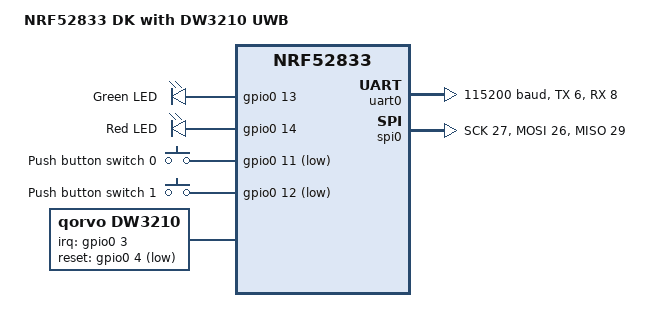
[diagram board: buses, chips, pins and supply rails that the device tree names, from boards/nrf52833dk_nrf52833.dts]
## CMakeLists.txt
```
cmake_minimum_required(VERSION 3.20.0)
find_package(Zephyr REQUIRED HINTS $ENV{ZEPHYR_BASE})
project(UWB_TAG_FIRMWARE)

target_include_directories(app PRIVATE src/decadriver)
target_sources(app PRIVATE 
    src/main.c
    src/uwb_driver_qorvo.c
    src/decadriver/deca_device.c
    # src/decadriver/deca_params_init.c
    src/decadriver/platform_port.c
)
```

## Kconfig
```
mainmenu "UWB TAG FIRMWARE Configuration"

config BOARD
	string "Board"
	default "nrf52833dk_nrf52833"

config APP_VERSION
	string "Application version"
	default "1.0.0"

source "Kconfig.zephyr"
```

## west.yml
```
# West manifest file for UWB Tag Firmware
manifest:
  self:
    path: uwb-tag-firmware

  remotes:
    - name: nrfconnect
      url-base: https://github.com/nrfconnect

  projects:
    - name: sdk-nrf
      remote: nrfconnect
      revision: v2.6.0
      import: true
```

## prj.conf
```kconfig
# UWB TAG FIRMWARE - Production Configuration
# Target: nRF52833 Dongle + DW3000 UWB Transceiver

# Core System
CONFIG_MAIN_STACK_SIZE=8192
CONFIG_SYSTEM_WORKQUEUE_STACK_SIZE=4096
CONFIG_ISR_STACK_SIZE=4096
CONFIG_HEAP_MEM_POOL_SIZE=8192

# Hardware Drivers
CONFIG_SPI=y
CONFIG_GPIO=y
CONFIG_SERIAL=y
CONFIG_CONSOLE=y
CONFIG_CONSOLE_SUBSYS=y
CONFIG_PINCTRL=y

# Logging (RTT for Debug)
CONFIG_LOG=y
CONFIG_LOG_DEFAULT_LEVEL=2
CONFIG_LOG_MODE_IMMEDIATE=n
CONFIG_LOG_MODE_DEFERRED=y
CONFIG_USE_SEGGER_RTT=y
CONFIG_RTT_CONSOLE=y
CONFIG_UART_CONSOLE=n
CONFIG_ASSERT=y

# Disable unnecessary features
CONFIG_LOG_MODE_OVERFLOW=n
CONFIG_MPU_LOG_LEVEL_OFF=y

# TAG must not enter sleep/deep-sleep; keep CPU/peripherals running predictably even on battery.
CONFIG_PM=n
CONFIG_PM_DEVICE=n
CONFIG_TICKLESS_KERNEL=n
```

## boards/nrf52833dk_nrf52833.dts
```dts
/*
 * Copyright (c) 2024 UWB TAG FIRMWARE Project
 * Device Tree Source for NRF52833 DK with DW3210 UWB Transceiver
 */

/dts-v1/;
#include <nordic/nrf52833.dtsi>

/ {
	model = "NRF52833 DK with DW3210 UWB";
	compatible = "nordic,nrf52833-dk";

	chosen {
		zephyr,console = &uart0;
		zephyr,shell-uart = &uart0;
		zephyr,sram = &sram0;
		zephyr,flash = &flash0;
		zephyr,code-partition = &code_partition;
	};

	leds {
		compatible = "gpio-leds";
		led0: led_0 {
			gpios = <&gpio0 13 GPIO_ACTIVE_HIGH>;
			label = "Green LED";
		};
		led1: led_1 {
			gpios = <&gpio0 14 GPIO_ACTIVE_HIGH>;
			label = "Red LED";
		};
	};

	buttons {
		compatible = "gpio-keys";
		button0: button_0 {
			gpios = <&gpio0 11 (GPIO_PULL_UP | GPIO_ACTIVE_LOW)>;
			label = "Push button switch 0";
		};
		button1: button_1 {
			gpios = <&gpio0 12 (GPIO_PULL_UP | GPIO_ACTIVE_LOW)>;
			label = "Push button switch 1";
		};
	};

	/* DW3210 UWB Transceiver Configuration */
	dw3210 {
		compatible = "qorvo,dw3210";
		label = "dw3210";
		
		/* Pin Configuration */
		irq-gpios = <&gpio0 3 GPIO_ACTIVE_HIGH>;
		reset-gpios = <&gpio0 4 GPIO_ACTIVE_LOW>;
		cs-gpios = <&gpio0 31 GPIO_ACTIVE_LOW>;
		
		/* SPI Interface */
		spi-parent = &spi0;
		spi-frequency = <8000000>;
	};
};

&uart0 {
	compatible = "nordic,nrf-uart";
	current-speed = <115200>;
	status = "okay";
	tx-pin = <6>;
	rx-pin = <8>;
};

&spi0 {
	compatible = "nordic,nrf-spi";
	status = "okay";
	sck-pin = <27>;
	mosi-pin = <26>;
	miso-pin = <29>;
};

&gpio0 {
	status = "okay";
};

&flash0 {
	partitions {
		compatible = "fixed-partitions";
		#address-cells = <1>;
		#size-cells = <1>;

		boot_partition: partition@0 {
			label = "mcuboot";
			reg = <0x00000000 0x0000F000>;
		};

		code_partition: partition@f000 {
			label = "code";
			reg = <0x0000F000 0x000F1000>;
		};

		storage_partition: partition@100000 {
			label = "storage";
			reg = <0x00100000 0x00000000>;
		};
	};
};
```

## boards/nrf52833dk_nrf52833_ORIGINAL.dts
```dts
/*
 * Copyright (c) 2024 UWB TAG FIRMWARE Project
 * Device Tree Source for NRF52833 DK with DW3210 UWB Transceiver
 */

/dts-v1/;
#include <nordic/nrf52833.dtsi>

/ {
	model = "NRF52833 DK with DW3210 UWB";
	compatible = "nordic,nrf52833-dk";

	chosen {
		zephyr,console = &uart0;
		zephyr,shell-uart = &uart0;
		zephyr,sram = &sram0;
		zephyr,flash = &flash0;
		zephyr,code-partition = &code_partition;
	};

	leds {
		compatible = "gpio-leds";
		led0: led_0 {
			gpios = <&gpio0 10 GPIO_ACTIVE_HIGH>;
			label = "Green LED";
		};
		led1: led_1 {
			gpios = <&gpio0 5 GPIO_ACTIVE_HIGH>;
			label = "Red LED";
		};
	};

	buttons {
		compatible = "gpio-keys";
		button0: button_0 {
			gpios = <&gpio0 4 (GPIO_PULL_UP | GPIO_ACTIVE_LOW)>;
			label = "Push button switch 0";
		};
		button1: button_1 {
			gpios = <&gpio1 9 (GPIO_PULL_UP | GPIO_ACTIVE_LOW)>;
			label = "Push button switch 1";
		};
	};

	/* DW3210 UWB Transceiver Configuration */
	dw3210 {
		compatible = "qorvo,dw3210";
		label = "dw3210";
		
		/* Pin Configuration */
		irq-gpios = <&gpio0 3 GPIO_ACTIVE_HIGH>;
		reset-gpios = <&gpio0 29 GPIO_ACTIVE_LOW>;
		cs-gpios = <&gpio0 2 GPIO_ACTIVE_LOW>;
		
		/* SPI Interface */
		spi-parent = &spi0;
		spi-frequency = <8000000>;
	};
};

&uart0 {
	compatible = "nordic,nrf-uart";
	current-speed = <115200>;
	status = "okay";
	tx-pin = <6>;
	rx-pin = <8>;
};

&spi0 {
	compatible = "nordic,nrf-spi";
	status = "okay";
	sck-pin = <31>;
	mosi-pin = <30>;
	miso-pin = <28>;
};

&gpio0 {
	status = "okay";
};

&flash0 {
	partitions {
		compatible = "fixed-partitions";
		#address-cells = <1>;
		#size-cells = <1>;

		boot_partition: partition@0 {
			label = "mcuboot";
			reg = <0x00000000 0x0000F000>;
		};

		code_partition: partition@f000 {
			label = "code";
			reg = <0x0000F000 0x000F1000>;
		};

		storage_partition: partition@100000 {
			label = "storage";
			reg = <0x00100000 0x00000000>;
		};
	};
};
```

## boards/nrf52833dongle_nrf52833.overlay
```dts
/* 
 * Takingo QuanV.01 - UWB Tag Firmware
 * Board: nRF52833 Dongle
 * Hardware Pinout (Verified by manufacturer):
 *   SPI3: SCK=P0.31, MOSI=P0.30, MISO=P0.28
 *   DW3000: CS=P0.02, RST=P0.29, IRQ=P0.24 (polling mode)
 *   LED: P0.06 (Active Low)
 * 
 * NOTE: UART disabled to free pins for SPI
 */

/* Disable UART to free P0.30 and P0.31 for SPI */
&uart0 {
    status = "disabled";
};

&pinctrl {
    spi3_default: spi3_default {
        group1 {
            psels = <NRF_PSEL(SPIM_SCK, 0, 31)>,
                    <NRF_PSEL(SPIM_MOSI, 0, 30)>,
                    <NRF_PSEL(SPIM_MISO, 0, 28)>;
        };
    };

    spi3_sleep: spi3_sleep {
        group1 {
            psels = <NRF_PSEL(SPIM_SCK, 0, 31)>,
                    <NRF_PSEL(SPIM_MOSI, 0, 30)>,
                    <NRF_PSEL(SPIM_MISO, 0, 28)>;
            low-power-enable;
        };
    };
};

&spi3 {
    compatible = "nordic,nrf-spim";
    status = "okay";
    pinctrl-0 = <&spi3_default>;
    pinctrl-1 = <&spi3_sleep>;
    pinctrl-names = "default", "sleep";
    
    dw3000: dw3000@0 {
        compatible = "decawave,dw3000";
        reg = <0>;
        spi-max-frequency = <2000000>;
        cs-gpios = <&gpio0 2 GPIO_ACTIVE_LOW>;
        reset-gpios = <&gpio0 29 GPIO_ACTIVE_LOW>;
        irq-gpios = <&gpio0 24 GPIO_ACTIVE_HIGH>;
    };
};

/ {
    aliases {
        led0 = &led0_custom;
    };

    leds {
        compatible = "gpio-leds";
        led0_custom: led_0_custom {
            gpios = <&gpio0 5 GPIO_ACTIVE_HIGH>;
            label = "Front Green LED";
        };
    };
};
```

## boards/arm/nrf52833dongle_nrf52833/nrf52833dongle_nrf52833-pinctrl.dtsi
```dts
/*
 * Copyright (c) 2024 K4W UWB Tag
 * SPDX-License-Identifier: Apache-2.0
 */

&pinctrl {
	uart0_default: uart0_default {
		group1 {
			psels = <NRF_PSEL(UART_TX, 0, 13)>,
				<NRF_PSEL(UART_RX, 0, 15)>;
		};
	};

	uart0_sleep: uart0_sleep {
		group1 {
			psels = <NRF_PSEL(UART_TX, 0, 13)>,
				<NRF_PSEL(UART_RX, 0, 15)>;
			low-power-enable;
		};
	};

	spi3_default: spi3_default {
		group1 {
			psels = <NRF_PSEL(SPIM_SCK, 0, 31)>,
				<NRF_PSEL(SPIM_MOSI, 0, 30)>,
				<NRF_PSEL(SPIM_MISO, 0, 28)>;
		};
	};

	spi3_sleep: spi3_sleep {
		group1 {
			psels = <NRF_PSEL(SPIM_SCK, 0, 31)>,
				<NRF_PSEL(SPIM_MOSI, 0, 30)>,
				<NRF_PSEL(SPIM_MISO, 0, 28)>;
			low-power-enable;
		};
	};
};
```

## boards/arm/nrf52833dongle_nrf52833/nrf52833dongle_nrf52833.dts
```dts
/*
 * Copyright (c) 2024 K4W UWB Tag
 * SPDX-License-Identifier: Apache-2.0
 */

/dts-v1/;
#include <nordic/nrf52833_qdaa.dtsi>
#include "nrf52833dongle_nrf52833-pinctrl.dtsi"

/ {
	model = "nRF52833 Dongle (K4W UWB Tag)";
	compatible = "nordic,nrf52833-dongle";

	chosen {
		zephyr,console = &uart0;
		zephyr,shell-uart = &uart0;
		zephyr,uart-mcumgr = &uart0;
		zephyr,bt-mon-uart = &uart0;
		zephyr,bt-c2h-uart = &uart0;
		zephyr,sram = &sram0;
		zephyr,flash = &flash0;
		zephyr,code-partition = &slot0_partition;
	};

	leds {
		compatible = "gpio-leds";
		led0: led_0 {
			gpios = <&gpio0 5 GPIO_ACTIVE_HIGH>;
			label = "Front LED (Green)";
		};
		led1: led_1 {
			gpios = <&gpio0 20 GPIO_ACTIVE_LOW>;
			label = "Back LED (Red)";
		};
	};

	aliases {
		led0 = &led0;
		led1 = &led1;
		watchdog0 = &wdt0;
	};
};

&flash0 {
	partitions {
		compatible = "fixed-partitions";
		#address-cells = <1>;
		#size-cells = <1>;

		boot_partition: partition@0 {
			label = "mcuboot";
			reg = <0x00000000 0xc000>;
		};
		slot0_partition: partition@c000 {
			label = "image-0";
			reg = <0x0000c000 0x37000>;
		};
		slot1_partition: partition@43000 {
			label = "image-1";
			reg = <0x00043000 0x37000>;
		};
		storage_partition: partition@7a000 {
			label = "storage";
			reg = <0x0007a000 0x00006000>;
		};
	};
};

&adc {
	status = "okay";
};

&uicr {
	gpio-as-nreset;
};

&gpiote {
	status = "okay";
};

&gpio0 {
	status = "okay";
};

&uart0 {
	compatible = "nordic,nrf-uarte";
	status = "okay";
	current-speed = <115200>;
	pinctrl-0 = <&uart0_default>;
	pinctrl-1 = <&uart0_sleep>;
	pinctrl-names = "default", "sleep";
};

&i2c0 {
	compatible = "nordic,nrf-twi";
	status = "disabled";
};

&spi0 {
	compatible = "nordic,nrf-spi";
	status = "disabled";
};

&spi1 {
	compatible = "nordic,nrf-spi";
	status = "disabled";
};

&spi2 {
	compatible = "nordic,nrf-spi";
	status = "disabled";
};

&spi3 {
	compatible = "nordic,nrf-spim";
	status = "okay";
	cs-gpios = <&gpio0 29 GPIO_ACTIVE_LOW>;
	pinctrl-0 = <&spi3_default>;
	pinctrl-1 = <&spi3_sleep>;
	pinctrl-names = "default", "sleep";
};
```

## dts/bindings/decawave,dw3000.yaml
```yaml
description: Decawave DW3000 UWB Transceiver

compatible: "decawave,dw3000"

include: spi-device.yaml

properties:
  reset-gpios:
    type: phandle-array
    required: true
  irq-gpios:
    type: phandle-array
    required: false
  cs-gpios:
    type: phandle-array
    required: true
```

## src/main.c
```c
#include <zephyr/kernel.h>
#include <zephyr/logging/log.h>
#include <zephyr/drivers/gpio.h>
#include <zephyr/drivers/spi.h>
#include <hal/nrf_gpio.h>

LOG_MODULE_REGISTER(uwb_tag_firmware, CONFIG_LOG_DEFAULT_LEVEL);

#ifndef UWB_CAL_ENABLE
#define UWB_CAL_ENABLE 0
#endif

#ifndef UWB_CAL_REF_MM
#define UWB_CAL_REF_MM 5000
#endif

#ifndef UWB_CAL_SAMPLES
#define UWB_CAL_SAMPLES 100
#endif

/* LED0 for nRF52833 Dongle */
// User requested "Front LED". On nRF52833 Dongle:
// LED0 (Green) = P0.06
// LED1 (RGB) = Red P0.08, Green P1.09, Blue P0.12
// Trying LED1 Green (P1.09) as the "Front" indicator if LED0 was wrong.
// Or if LED0 was P0.06 and that was "back", maybe P0.13 is front?
// Let's try standard LED0 first, but ensure it's P0.06.
#define LED0_NODE DT_ALIAS(led0)
static const struct gpio_dt_spec led = GPIO_DT_SPEC_GET(LED0_NODE, gpios);

/* SPI Device for Raw Test */
#define DW3000_NODE DT_NODELABEL(dw3000)
static const struct device *spi_dev = DEVICE_DT_GET(DT_BUS(DW3000_NODE));
static const struct gpio_dt_spec cs_gpio = GPIO_DT_SPEC_GET(DW3000_NODE, cs_gpios);

/* Forward declaration of UWB driver functions */
extern int uwb_driver_init(void);
extern int uwb_send_blink(void);
extern int uwb_twr_cycle(void);
extern int uwb_rx_test_mode(void);
extern int uwb_beacon_tx_mode(void); // TX beacon test
extern int uwb_calibrate_antenna_delay(uint32_t ref_mm, uint16_t samples);
extern void reset_DWIC(void);

/* Global LED control for UWB driver */
static bool g_led_available = false;
static const struct gpio_dt_spec *g_led_ptr = NULL;

void uwb_led_on(void) {
    if (g_led_available && g_led_ptr) {
        gpio_pin_set_dt(g_led_ptr, 1);
    }
}

void uwb_led_off(void) {
    if (g_led_available && g_led_ptr) {
        gpio_pin_set_dt(g_led_ptr, 0);
    }
}

void uwb_led_pulse(void) {
    // LED DISABLED to prevent battery voltage drop (brownout)
    return;
    
    /*
    if (g_led_available && g_led_ptr) {
        gpio_pin_set_dt(g_led_ptr, 1);
        // Short blink (5ms) to minimize blocking but remain visible
        k_busy_wait(5000);
        gpio_pin_set_dt(g_led_ptr, 0);
    }
    */
}

void gpio_scan_disco(void) {
    printk("\n--- STARTING GPIO DISCO SCAN ---\n");
    printk("Watch the board! Each pin will blink for 200ms.\n");
    
    // Scan Port 0
    for (int i = 0; i < 32; i++) {
        // Skip critical pins (Reset=29, UART=6/8, CS=2, SCK=31, MOSI=30, MISO=28)
        if (i == 29 || i == 6 || i == 8 || i == 2 || i == 31 || i == 30 || i == 28) continue;
        
        nrf_gpio_cfg_output(NRF_GPIO_PIN_MAP(0, i));
        nrf_gpio_pin_write(NRF_GPIO_PIN_MAP(0, i), 0); // Low
        k_msleep(10);
        nrf_gpio_pin_write(NRF_GPIO_PIN_MAP(0, i), 1); // High
        printk("P0.%02d ", i);
        k_msleep(100);
        nrf_gpio_pin_write(NRF_GPIO_PIN_MAP(0, i), 0); // Low
        nrf_gpio_cfg_input(NRF_GPIO_PIN_MAP(0, i), NRF_GPIO_PIN_NOPULL);
    }
    printk("\n");

    // Scan Port 1 (nRF52833 only has P1.00 - P1.09)
    for (int i = 0; i <= 9; i++) {
        nrf_gpio_cfg_output(NRF_GPIO_PIN_MAP(1, i));
        nrf_gpio_pin_write(NRF_GPIO_PIN_MAP(1, i), 0);
        k_msleep(10);
        nrf_gpio_pin_write(NRF_GPIO_PIN_MAP(1, i), 1);
        printk("P1.%02d ", i);
        k_msleep(100);
        nrf_gpio_pin_write(NRF_GPIO_PIN_MAP(1, i), 0);
        nrf_gpio_cfg_input(NRF_GPIO_PIN_MAP(1, i), NRF_GPIO_PIN_NOPULL);
    }
    printk("\n--- DISCO SCAN COMPLETE ---\n");
}

void raw_spi_test(void) {
    struct spi_config spi_cfg = {
        .frequency = 1000000, // Lower to 1MHz
        .operation = SPI_WORD_SET(8) | SPI_TRANSFER_MSB,
        .slave = 0,
        .cs = NULL,
    };

    uint8_t tx_buf[5] = {0x00, 0xFF, 0xFF, 0xFF, 0xFF}; // Read ID command + dummy
    uint8_t rx_buf[5] = {0};

    struct spi_buf tx = { .buf = tx_buf, .len = 5 };
    struct spi_buf_set tx_set = { .buffers = &tx, .count = 1 };
    struct spi_buf rx = { .buf = rx_buf, .len = 5 };
    struct spi_buf_set rx_set = { .buffers = &rx, .count = 1 };

    printk("RAW SPI TEST: Reading Device ID (Reg 0x00)...\n");

    if (!device_is_ready(spi_dev)) {
        printk("SPI Device NOT Ready!\n");
        return;
    }

    // Manual CS (ACTIVE_LOW: 1=Active/Low, 0=Inactive/High)
    gpio_pin_configure_dt(&cs_gpio, GPIO_OUTPUT_INACTIVE);
    k_msleep(1);
    gpio_pin_set_dt(&cs_gpio, 1); // ACTIVE_LOW: Activate CS (Physical Low)
    k_busy_wait(10);
    
    int ret = spi_transceive(spi_dev, &spi_cfg, &tx_set, &rx_set);
    
    k_busy_wait(10);
    gpio_pin_set_dt(&cs_gpio, 0); // ACTIVE_LOW: Deactivate CS (Physical High)

    if (ret == 0) {
        printk("SPI Read Success! Data: %02X %02X %02X %02X %02X\n", 
               rx_buf[0], rx_buf[1], rx_buf[2], rx_buf[3], rx_buf[4]);
        uint32_t dev_id = (rx_buf[4] << 24) | (rx_buf[3] << 16) | (rx_buf[2] << 8) | rx_buf[1];
        printk("Device ID: 0x%08X\n", dev_id);
    } else {
        printk("SPI Read Failed: %d\n", ret);
    }
}

/**
 * Main application entry point
 * UWB TAG FIRMWARE - TX Mode (Transmitter/BLINK)
 * 
 * This firmware runs the NRF52833 in TX-only mode:
 * - Sends UWB BLINK frames every 500ms
 * - Enters sleep mode for 490ms between transmissions
 * - NO RX (receive) functionality
 */
int main(void)
{
    int ret = 0;
    uint32_t frame_count = 0;
    bool led_available = false;

#ifndef TAG_TWR_PERIOD_MS
// Requirement: TAG must keep transmitting periodically and must not "go to sleep".
// Use a stable period so an anchor can always rediscover the tag when it comes back in range.
// INCREASED to 1000ms to reduce log spam and allow easier debugging.
#define TAG_TWR_PERIOD_MS 1000
#endif

    /* Wait for RTT to connect */
    k_msleep(2000);

    // Run Disco Scan to identify LED pin visually
    gpio_scan_disco();

    printk("\n\n");
    printk("===========================================\n");
    printk("UWB TAG FIRMWARE - DIAGNOSTIC MODE\n");
    printk("===========================================\n");

    /* Check Voltage */
    printk("UICR REGOUT0: 0x%08X (Expected: 0xFFFFFFFF for 3.0V or 0x00000005 for 3.3V)\n", NRF_UICR->REGOUT0);

    /* Initialize LED */
    printk("Checking LED device...\n");
    g_led_ptr = &led;
    if (!gpio_is_ready_dt(&led)) {
        printk("ERROR: LED device not ready!\n");
    } else {
        printk("LED device ready, configuring...\n");
        ret = gpio_pin_configure_dt(&led, GPIO_OUTPUT);
        if (ret != 0) {
            printk("ERROR: Failed to configure LED: %d\n", ret);
        } else {
            /* LED OFF by default - will pulse during frame transmission */
            gpio_pin_set_dt(&led, 0);
            
            printk("LED configured - will blink only during frame TX\n");
            led_available = true;
            g_led_available = true;
        }
    }

    /* Run quick SPI diagnostic test first */
    printk("\n===========================================\n");
    printk("DIAGNOSTIC: Testing SPI communication...\n");
    raw_spi_test();
    k_msleep(500);
    
    /* Initialize UWB driver and DW3000 transceiver */
    printk("\n===========================================\n");
    printk("Initializing UWB driver...\n");
    LOG_INF("Initializing UWB driver...");
    
    ret = uwb_driver_init();
    if (ret) {
        printk("ERROR: Failed to initialize UWB driver: %d\n", ret);
        LOG_ERR("Failed to initialize UWB driver: %d", ret);
        printk("System halted. Check SPI connections.\n");
        printk("Running continuous diagnostic...\n");
        while (1) {
            if (led_available) {
                gpio_pin_set_dt(&led, 1);
                k_msleep(100);
                gpio_pin_set_dt(&led, 0);
                k_msleep(900);
            } else {
                k_msleep(1000);
            }
            raw_spi_test();
        }
    }

#if UWB_CAL_ENABLE
    printk("\n===========================================\n");
    printk("Calibration mode: DS-TWR antenna delay\n");
    printk("Ref: %u mm, Samples: %u\n", (unsigned)UWB_CAL_REF_MM, (unsigned)UWB_CAL_SAMPLES);
    (void)uwb_calibrate_antenna_delay((uint32_t)UWB_CAL_REF_MM, (uint16_t)UWB_CAL_SAMPLES);
    printk("Calibration done. Continuing ranging...\n");
#endif

    printk("UWB Driver initialized successfully!\n");
    printk("TWR ranging mode: periodic TX every %d ms\n", TAG_TWR_PERIOD_MS);
    k_msleep(500);

    /* Main TWR loop */
    int fail_count = 0;
    while (1) {
        int64_t t_start = k_uptime_get();
        frame_count++;

        // Ensure LED is OFF between transmissions; pulses are handled inside TX paths.
        uwb_led_off();

        ret = uwb_twr_cycle();
        if (ret) {
            // Keep the loop running regardless of failures.
            // Avoid spamming RTT when disconnected; errors still show if enabled.
            LOG_WRN("TWR cycle #%u failed", frame_count);
            fail_count++;
            
            // Watchdog: If we fail 10 times in a row, re-initialize the radio.
            // This fixes issues where the DW3000 gets stuck in a weird state on battery power.
            if (fail_count >= 10) {
                LOG_ERR("Too many failures! Re-initializing UWB driver...");
                uwb_driver_init();
                fail_count = 0;
                k_msleep(100);
            }
        } else {
            LOG_DBG("TWR cycle #%u complete", frame_count);
            fail_count = 0; // Reset counter on success
        }

        // Stable 2s cadence (or TAG_TWR_PERIOD_MS) regardless of anchor presence.
        int64_t elapsed = k_uptime_get() - t_start;
        int32_t sleep_ms = (int32_t)TAG_TWR_PERIOD_MS - (int32_t)elapsed;
        if (sleep_ms < 0) {
            sleep_ms = 0;
        }
        k_msleep(sleep_ms);
    }
    
    return 0;
}
```

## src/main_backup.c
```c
// Backup of original main.c before minimal test
```

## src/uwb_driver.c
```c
#include <zephyr/kernel.h>
#include <zephyr/logging/log.h>
#include <zephyr/device.h>
#include <zephyr/drivers/spi.h>
#include <zephyr/drivers/gpio.h>
#include <string.h>

LOG_MODULE_REGISTER(uwb_driver, CONFIG_LOG_DEFAULT_LEVEL);

/* TAG Configuration */
#define TAG_ID              0x0001      // Unique tag ID
#define PAN_ID              0xDECA      // PAN ID (Decawave default)
#define ANCHOR_ADDR         0xFFFF      // Broadcast or specific anchor address

/* IEEE 802.15.4 Frame Control Field */
#define FRAME_TYPE_DATA     0x01        // Data frame
#define SEC_ENABLED         0x00        // Security disabled
#define FRAME_PENDING       0x00        // No pending frame
#define ACK_REQUEST         0x00        // No ACK requested
#define PAN_ID_COMPRESS     0x01        // PAN ID compression enabled
#define DEST_ADDR_MODE_SHORT 0x02       // 16-bit short address
#define SRC_ADDR_MODE_SHORT  0x02       // 16-bit short address

/* Frame Control: 0x4188
 * Bits 0-2:   Frame Type = 001 (Data)
 * Bit 3:      Security Enabled = 0
 * Bit 4:      Frame Pending = 0
 * Bit 5:      ACK Request = 0
 * Bit 6:      PAN ID Compression = 1
 * Bits 10-11: Dest Addr Mode = 10 (16-bit)
 * Bits 14-15: Src Addr Mode = 10 (16-bit)
 */
#define FRAME_CTRL_LSB      0x41        // Frame control byte 0
#define FRAME_CTRL_MSB      0x88        // Frame control byte 1

/* TWR Message Types */
#define MSG_TYPE_POLL       0x61        // TWR Poll message
#define MSG_TYPE_RESP       0x50        // TWR Response message  
#define MSG_TYPE_FINAL      0x23        // TWR Final message
#define MSG_TYPE_BEACON     0x70        // Beacon/discovery message

/* IEEE 802.15.4 Data Frame Structure
 * +----------------+----------------+----------------+
 * | Frame Control  | Sequence Num   | PAN ID         |
 * | (2 bytes)      | (1 byte)       | (2 bytes)      |
 * +----------------+----------------+----------------+
 * | Dest Address   | Src Address    | Payload        |
 * | (2 bytes)      | (2 bytes)      | (n bytes)      |
 * +----------------+----------------+----------------+
 */
typedef struct {
    uint8_t frame_ctrl[2];      // Frame control field
    uint8_t seq_num;            // Sequence number
    uint8_t pan_id[2];          // PAN ID
    uint8_t dest_addr[2];       // Destination address
    uint8_t src_addr[2];        // Source address (TAG_ID)
    uint8_t msg_type;           // Message type (POLL/RESP/FINAL/BEACON)
    uint8_t payload[32];        // Payload data
} __packed uwb_data_frame_t;

static uint8_t frame_seq_num = 0;

/**
 * Build IEEE 802.15.4 DATA frame for TWR
 * @param frame     Pointer to frame structure
 * @param msg_type  Message type (POLL/BEACON/etc)
 * @param payload   Optional payload data
 * @param payload_len Length of payload
 * @return Total frame length
 */
static int build_ieee802154_frame(uwb_data_frame_t *frame, uint8_t msg_type,
                                   const uint8_t *payload, uint8_t payload_len)
{
    if (!frame) {
        return -1;
    }

    memset(frame, 0, sizeof(uwb_data_frame_t));

    // Frame Control: 0x4188 (Data frame, short addressing)
    frame->frame_ctrl[0] = FRAME_CTRL_LSB;  // 0x41
    frame->frame_ctrl[1] = FRAME_CTRL_MSB;  // 0x88

    // Sequence number (increments with each transmission)
    frame->seq_num = frame_seq_num++;

    // PAN ID: 0xDECA (little-endian)
    frame->pan_id[0] = (PAN_ID & 0xFF);         // 0xCA
    frame->pan_id[1] = (PAN_ID >> 8) & 0xFF;    // 0xDE

    // Destination address (broadcast or specific anchor)
    frame->dest_addr[0] = (ANCHOR_ADDR & 0xFF);        // 0xFF
    frame->dest_addr[1] = (ANCHOR_ADDR >> 8) & 0xFF;   // 0xFF

    // Source address (TAG_ID)
    frame->src_addr[0] = (TAG_ID & 0xFF);       // 0x01
    frame->src_addr[1] = (TAG_ID >> 8) & 0xFF;  // 0x00

    // Message type
    frame->msg_type = msg_type;

    // Copy payload if provided
    if (payload && payload_len > 0) {
        uint8_t copy_len = (payload_len > 32) ? 32 : payload_len;
        memcpy(frame->payload, payload, copy_len);
        return 9 + 1 + copy_len;  // Header (9) + msg_type (1) + payload
    }

    return 10;  // Header (9) + msg_type (1), no payload
}

/**
 * Initialize UWB driver and DW3210 transceiver
 * @return 0 on success, negative error code on failure
 */
int uwb_driver_init(void)
{
    printk("===========================================\n");
    printk("UWB Driver - IEEE 802.15.4 Mode\n");
    printk("===========================================\n");
    printk("TAG ID: 0x%04X\n", TAG_ID);
    printk("PAN ID: 0x%04X\n", PAN_ID);
    printk("Frame Type: IEEE 802.15.4 DATA (0x4188)\n");
    printk("===========================================\n");
    
    printk("UWB Driver initialized - IEEE 802.15.4 mode\n");
    printk("TAG ID: 0x%04X, PAN ID: 0x%04X\n", TAG_ID, PAN_ID);
    
    /* TEST: SPI3 Device Check */
    printk("\n*** SPI3 TEST ***\n");
    const struct device *spi3 = DEVICE_DT_GET(DT_NODELABEL(spi3));
    if (!device_is_ready(spi3)) {
        printk("ERROR: SPI3 device not ready!\n");
        return -1;
    }
    printk("SUCCESS: SPI3 device ready!\n");
    
    /* TEST: Read DW3110 Device ID via SPI */
    printk("\n*** DW3110 DEVICE ID TEST ***\n");
    
    // Configure SPI with CS pin from Device Tree
    struct spi_config spi_cfg = {
        .frequency = 2000000,  // 2 MHz
        .operation = SPI_WORD_SET(8) | SPI_TRANSFER_MSB,
        .slave = 0,
        .cs = {
            .gpio = GPIO_DT_SPEC_GET(DT_NODELABEL(spi3), cs_gpios),
            .delay = 0,
        },
    };
    
    // DW3110 Register read: Address 0x00 (Device ID), length 4 bytes
    // Header: 0x00 (Read) | 0x00 (Sub-address 0)
    uint8_t tx_buf[5] = {0x00, 0x00, 0x00, 0x00, 0x00};  
    uint8_t rx_buf[5] = {0};
    
    struct spi_buf tx = {.buf = tx_buf, .len = 5};
    struct spi_buf rx = {.buf = rx_buf, .len = 5};
    struct spi_buf_set tx_bufs = {.buffers = &tx, .count = 1};
    struct spi_buf_set rx_bufs = {.buffers = &rx, .count = 1};
    
    int ret = spi_transceive(spi3, &spi_cfg, &tx_bufs, &rx_bufs);
    if (ret != 0) {
        printk("ERROR: SPI transceive failed: %d\n", ret);
        return -1;
    }
    
    // Print raw bytes for debugging
    printk("RX Bytes: %02X %02X %02X %02X %02X\n", 
           rx_buf[0], rx_buf[1], rx_buf[2], rx_buf[3], rx_buf[4]);

    uint32_t dev_id = (rx_buf[4] << 24) | (rx_buf[3] << 16) | (rx_buf[2] << 8) | rx_buf[1];
    printk("Device ID: 0x%08X\n", dev_id);
    
    if (dev_id == 0xDECA0302) {
        printk("SUCCESS: DW3110 detected!\n");
    } else {
        printk("WARNING: Unexpected Device ID (expected 0xDECA0302)\n");
    }
    
    return 0;
}

/**
 * Send IEEE 802.15.4 DATA frame (replaces BLINK)
 * This sends a BEACON/POLL frame that anchors can see
 * @return 0 on success, negative error code on failure
 */
int uwb_send_blink(void)
{
    uwb_data_frame_t frame;
    uint8_t tag_info[8];
    int frame_len;

    // Prepare tag info payload
    tag_info[0] = (TAG_ID & 0xFF);
    tag_info[1] = (TAG_ID >> 8) & 0xFF;
    tag_info[2] = 0x01;  // Tag version
    tag_info[3] = 0x00;  // Status flags
    tag_info[4] = frame_seq_num;  // Sequence number
    tag_info[5] = 0x00;  // Reserved
    tag_info[6] = 0x00;  // Reserved
    tag_info[7] = 0x00;  // Reserved

    // Build IEEE 802.15.4 frame with BEACON message type
    frame_len = build_ieee802154_frame(&frame, MSG_TYPE_BEACON, tag_info, 8);

    if (frame_len <= 0) {
        LOG_ERR("Failed to build frame");
        return -1;
    }

    // Log frame details
    printk("*** IEEE 802.15.4 DATA FRAME ***\n");
    printk("  Frame Ctrl: 0x%02X%02X (Data frame)\n", 
            frame.frame_ctrl[1], frame.frame_ctrl[0]);
    printk("  Seq Num:    0x%02X\n", frame.seq_num);
    printk("  PAN ID:     0x%02X%02X\n", frame.pan_id[1], frame.pan_id[0]);
    printk("  Dest Addr:  0x%02X%02X\n", frame.dest_addr[1], frame.dest_addr[0]);
    printk("  Src Addr:   0x%04X (TAG)\n", TAG_ID);
    printk("  Msg Type:   0x%02X (BEACON)\n", frame.msg_type);
    printk("  Frame Len:  %d bytes\n", frame_len);
    
    printk("TX: IEEE 802.15.4 frame [Seq:%d, Len:%d]\n", frame.seq_num, frame_len);

    // TODO: Actual SPI transmission to DW3210 will go here
    // For now, simulate transmission delay
    k_msleep(10);

    return 0;
}

/**
 * Send TWR POLL message (initiates ranging)
 * @return 0 on success, negative error code on failure
 */
int uwb_send_twr_poll(void)
{
    uwb_data_frame_t frame;
    int frame_len;

    // Build TWR POLL frame (no payload needed)
    frame_len = build_ieee802154_frame(&frame, MSG_TYPE_POLL, NULL, 0);

    if (frame_len <= 0) {
        return -1;
    }

    LOG_INF("*** TWR POLL FRAME ***");
    LOG_INF("  Seq Num:   0x%02X", frame.seq_num);
    LOG_INF("  TAG -> ANCHOR: Poll request");
    
    printk("TX: TWR POLL [Seq:%d]\n", frame.seq_num);

    // TODO: Send via SPI to DW3210
    k_msleep(10);

    return 0;
}

/**
 * Perform complete TWR ranging cycle
 * DS-TWR (Double-Sided Two-Way Ranging) implementation:
 * 
 * 1. TAG sends POLL message and records T1 timestamp
 * 2. ANCHOR receives POLL at T2, sends RESPONSE at T3
 * 3. TAG receives RESPONSE at T4, sends FINAL at T5
 * 4. ANCHOR receives FINAL at T6
 * 
 * Distance calculation:
 *   Tround1 = T4 - T1 (TAG side)
 *   Treply1 = T3 - T2 (ANCHOR side)
 *   Tround2 = T6 - T3 (ANCHOR side)
 *   Treply2 = T5 - T4 (TAG side)
 *   ToF = (Tround1 * Tround2 - Treply1 * Treply2) / (Tround1 + Tround2 + Treply1 + Treply2)
 *   Distance = ToF * speed_of_light
 * 
 * @return 0 on success, negative on failure
 */
int uwb_twr_cycle(void)
{
    int ret;
    uint64_t t1_poll_tx = 0;      // T1: TAG sends POLL
    uint64_t t4_resp_rx = 0;      // T4: TAG receives RESPONSE
    uint64_t t5_final_tx = 0;     // T5: TAG sends FINAL
    
    // For simulation/testing - will be replaced with actual DW3000 timestamps
    uint64_t t2_poll_rx = 0;      // T2: ANCHOR receives POLL (from RESPONSE payload)
    uint64_t t3_resp_tx = 0;      // T3: ANCHOR sends RESPONSE (from RESPONSE payload)
    uint64_t t6_final_rx = 0;     // T6: ANCHOR receives FINAL (from next RESPONSE)
    
    printk("\n┌─────────────────────────────────────┐\n");
    printk("│  Step 1: Send POLL message          │\n");
    printk("└─────────────────────────────────────┘\n");
    
    // LED pulse to indicate transmission
    extern void uwb_led_pulse(void);
    uwb_led_pulse();
    
    // Step 1: Send POLL message
    ret = uwb_send_twr_poll();
    if (ret != 0) {
        printk("❌ Failed to send POLL\n");
        return -1;
    }
    
    // Get TX timestamp (T1) - will be from DW3000 register
    // For now, use system time for simulation
    t1_poll_tx = k_uptime_get() * 1000;  // Convert ms to us
    printk("📤 POLL sent at T1 = %llu us\n", t1_poll_tx);
    
    printk("\n┌─────────────────────────────────────┐\n");
    printk("│  Step 2: Wait for RESPONSE          │\n");
    printk("└─────────────────────────────────────┘\n");
    
    // Wait for RESPONSE from anchor (timeout: 100ms)
    // TODO: Implement actual RX logic with DW3000
    printk("⏳ Waiting for ANCHOR RESPONSE (timeout: 100ms)...\n");
    k_msleep(50);  // Simulate anchor processing time
    
    // Simulate receiving RESPONSE
    // In real implementation, this would be from DW3000 RX buffer
    bool response_received = true;  // TODO: Check actual RX status
    
    if (!response_received) {
        printk("❌ No RESPONSE received - Anchor not responding\n");
        return -2;
    }
    
    // Get RX timestamp (T4)
    t4_resp_rx = k_uptime_get() * 1000;
    
    // Parse RESPONSE payload for T2 and T3 timestamps
    // TODO: Extract from actual DW3000 RX buffer
    t2_poll_rx = t1_poll_tx + 500;   // Simulate: ANCHOR received 0.5ms later
    t3_resp_tx = t2_poll_rx + 100;   // Simulate: ANCHOR replied 0.1ms after RX
    
    printk("📥 RESPONSE received at T4 = %llu us\n", t4_resp_rx);
    printk("   ANCHOR timestamps: T2=%llu us, T3=%llu us\n", t2_poll_rx, t3_resp_tx);
    
    printk("\n┌─────────────────────────────────────┐\n");
    printk("│  Step 3: Send FINAL message         │\n");
    printk("└─────────────────────────────────────┘\n");
    
    // LED pulse for FINAL transmission
    uwb_led_pulse();
    
    // Step 3: Send FINAL message with T1, T4, T5 timestamps
    uwb_data_frame_t final_frame;
    uint8_t final_payload[16];
    
    // Pack timestamps into payload (simplified - real impl uses DW3000 format)
    memcpy(&final_payload[0], &t1_poll_tx, 8);
    memcpy(&final_payload[8], &t4_resp_rx, 8);
    
    int frame_len = build_ieee802154_frame(&final_frame, MSG_TYPE_FINAL, 
                                           final_payload, 16);
    if (frame_len <= 0) {
        printk("❌ Failed to build FINAL frame\n");
        return -3;
    }
    
    // TODO: Send via SPI to DW3000
    t5_final_tx = k_uptime_get() * 1000;
    printk("📤 FINAL sent at T5 = %llu us\n", t5_final_tx);
    printk("TX: TWR FINAL [Seq:%d, Len:%d]\n", final_frame.seq_num, frame_len);
    
    printk("\n┌─────────────────────────────────────┐\n");
    printk("│  Step 4: Calculate Distance         │\n");
    printk("└─────────────────────────────────────┘\n");
    
    // DS-TWR distance calculation
    // Tround1 = T4 - T1 (time from POLL TX to RESPONSE RX)
    // Treply1 = T3 - T2 (anchor's reply time)
    // Tround2 = T6 - T3 (time from RESPONSE TX to FINAL RX at anchor)
    // Treply2 = T5 - T4 (tag's reply time)
    
    int64_t tround1 = t4_resp_rx - t1_poll_tx;
    int64_t treply1 = t3_resp_tx - t2_poll_rx;
    int64_t treply2 = t5_final_tx - t4_resp_rx;
    
    // For simulation, estimate T6 (would come from next anchor message)
    t6_final_rx = t5_final_tx + 500;  // Simulate 0.5ms propagation
    int64_t tround2 = t6_final_rx - t3_resp_tx;
    
    printk("\n📊 TWR Timing Analysis:\n");
    printk("   Tround1 (T4-T1) = %lld us\n", tround1);
    printk("   Treply1 (T3-T2) = %lld us\n", treply1);
    printk("   Tround2 (T6-T3) = %lld us\n", tround2);
    printk("   Treply2 (T5-T4) = %lld us\n", treply2);
    
    // Time of Flight (ToF) calculation
    // ToF = (Tround1 * Tround2 - Treply1 * Treply2) / (Tround1 + Tround2 + Treply1 + Treply2)
    int64_t tof_numerator = (tround1 * tround2) - (treply1 * treply2);
    int64_t tof_denominator = tround1 + tround2 + treply1 + treply2;
    
    if (tof_denominator == 0) {
        printk("❌ Invalid timing data (division by zero)\n");
        return -4;
    }
    
    int64_t tof = tof_numerator / tof_denominator;  // Time of Flight in microseconds
    
    // Distance = ToF * speed_of_light
    // Speed of light: 299,792,458 m/s = 299.792458 m/us
    // Using fixed-point: 299792458 mm/s = 299.792458 mm/us
    float speed_of_light_mm_per_us = 299.792458f;
    float distance_mm = (float)tof * speed_of_light_mm_per_us;
    float distance_m = distance_mm / 1000.0f;
    
    printk("\n📏 DISTANCE MEASUREMENT:\n");
    printk("   Time of Flight = %lld us\n", tof);
    printk("   Distance = %.2f meters (%.0f mm)\n", distance_m, distance_mm);
    
    // Sanity check
    if (distance_m < 0 || distance_m > 100.0f) {
        printk("⚠️  WARNING: Distance out of expected range!\n");
    }
    
    LOG_INF("TWR Complete: Distance = %.2f m", distance_m);
    
    return 0;
}
```
